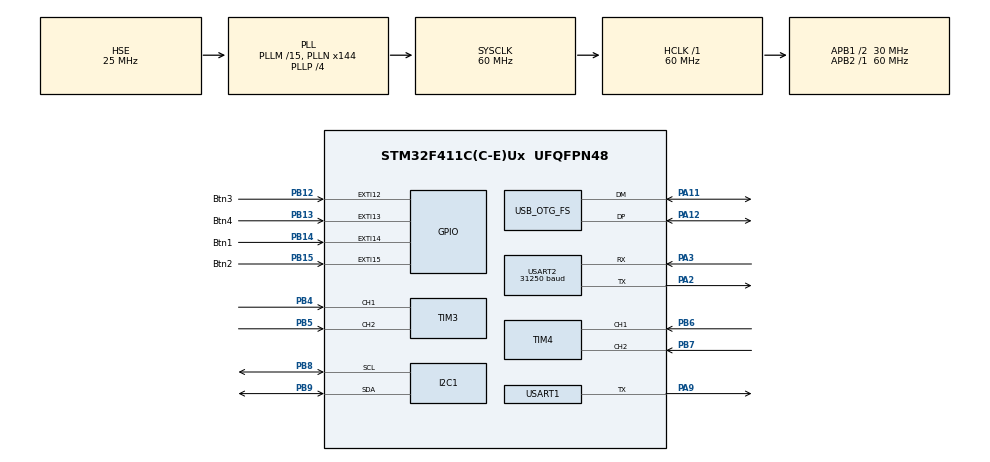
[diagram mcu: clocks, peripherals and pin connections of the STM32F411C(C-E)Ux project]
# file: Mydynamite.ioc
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FREERTOS.Tasks01=midi_core,48,128,MidiCore,Default,NULL,Dynamic,NULL,NULL;medium_tasks,32,128,MediumTasks,Default,NULL,Dynamic,NULL,NULL;display_update,16,128,DisplayUpdate,Default,NULL,Dynamic,NULL,NULL
FREERTOS.configUSE_NEWLIB_REENTRANT=1
Mcu.Family=STM32F4
Mcu.Name=STM32F411C(C-E)Ux
Mcu.Package=UFQFPN48
NVIC.OTG_FS_IRQn=true\:5\:0\:false\:false\:true\:true\:false\:true\:true
NVIC.PriorityGroup=NVIC_PRIORITYGROUP_4
NVIC.TIM1_UP_TIM10_IRQn=true\:15\:0\:false\:false\:true\:false\:false\:true\:true
NVIC.TIM2_IRQn=true\:5\:0\:false\:false\:true\:true\:true\:true\:true
NVIC.TIM3_IRQn=true\:5\:0\:false\:false\:true\:true\:true\:true\:true
NVIC.TIM4_IRQn=true\:5\:0\:false\:false\:true\:true\:true\:true\:true
NVIC.TimeBase=TIM1_UP_TIM10_IRQn
NVIC.TimeBaseIP=TIM1
NVIC.USART1_IRQn=true\:5\:0\:false\:false\:true\:true\:true\:true\:true
NVIC.USART2_IRQn=true\:5\:0\:false\:false\:true\:true\:true\:true\:true
PA11.Mode=Device_Only
PA11.Signal=USB_OTG_FS_DM
PA12.Mode=Device_Only
PA12.Signal=USB_OTG_FS_DP
PA13.Mode=Serial_Wire
PA13.Signal=SYS_JTMS-SWDIO
PA14.Mode=Serial_Wire
PA14.Signal=SYS_JTCK-SWCLK
PA2.GPIO_Speed=GPIO_SPEED_FREQ_HIGH
PA2.Mode=Asynchronous
PA2.Signal=USART2_TX
PA3.GPIO_Speed=GPIO_SPEED_FREQ_HIGH
PA3.Mode=Asynchronous
PA3.Signal=USART2_RX
PA9.Mode=Half_duplex(single_wire_mode)
PA9.Signal=USART1_TX
PB12.GPIO_Label=Btn3
PB12.GPIO_ModeDefaultEXTI=GPIO_MODE_EVT_FALLING
PB12.GPIO_PuPd=GPIO_PULLUP
PB12.Signal=GPXTI12
PB13.GPIO_Label=Btn4
PB13.GPIO_ModeDefaultEXTI=GPIO_MODE_EVT_FALLING
PB13.GPIO_PuPd=GPIO_PULLUP
PB13.Signal=GPXTI13
PB14.GPIO_Label=Btn1
PB14.GPIO_ModeDefaultEXTI=GPIO_MODE_EVT_FALLING
PB14.GPIO_PuPd=GPIO_PULLUP
PB14.Signal=GPXTI14
PB15.GPIO_Label=Btn2
PB15.GPIO_ModeDefaultEXTI=GPIO_MODE_EVT_FALLING
PB15.GPIO_PuPd=GPIO_PULLUP
PB15.Signal=GPXTI15
PB3.Signal=I2C2_SDA
PB4.GPIO_PuPd=GPIO_PULLUP
PB4.GPIO_Speed=GPIO_SPEED_FREQ_HIGH
PB4.Signal=S_TIM3_CH1
PB5.GPIO_PuPd=GPIO_PULLUP
PB5.GPIO_Speed=GPIO_SPEED_FREQ_HIGH
PB5.Signal=S_TIM3_CH2
PB6.GPIO_PuPd=GPIO_PULLUP
PB6.GPIO_Speed=GPIO_SPEED_FREQ_HIGH
PB6.Signal=S_TIM4_CH1
PB7.GPIO_PuPd=GPIO_PULLUP
PB7.GPIO_Speed=GPIO_SPEED_FREQ_HIGH
PB7.Signal=S_TIM4_CH2
PB8.Mode=I2C
PB8.Signal=I2C1_SCL
PB9.Mode=I2C
PB9.Signal=I2C1_SDA
PH0\ -\ OSC_IN.Mode=HSE-External-Oscillator
PH0\ -\ OSC_IN.Signal=RCC_OSC_IN
PH1\ -\ OSC_OUT.Mode=HSE-External-Oscillator
PH1\ -\ OSC_OUT.Signal=RCC_OSC_OUT
ProjectManager.HeapSize=0x200
ProjectManager.StackSize=0x400
ProjectManager.TargetToolchain=STM32CubeIDE
RCC.48MHZClocksFreq_Value=48000000
RCC.AHBFreq_Value=60000000
RCC.APB1CLKDivider=RCC_HCLK_DIV2
RCC.APB1Freq_Value=30000000
RCC.APB1TimFreq_Value=60000000
RCC.APB2Freq_Value=60000000
RCC.APB2TimFreq_Value=60000000
RCC.CortexFreq_Value=60000000
RCC.HCLKFreq_Value=60000000
RCC.HSE_VALUE=25000000
RCC.HSI_VALUE=16000000
RCC.LSE_VALUE=32768
RCC.PLLM=15
RCC.PLLN=144
RCC.PLLP=RCC_PLLP_DIV4
RCC.PLLQ=5
RCC.SYSCLKFreq_VALUE=60000000
RCC.SYSCLKSource=RCC_SYSCLKSOURCE_PLLCLK
RCC.VCOOutputFreq_Value=240000000
SH.S_TIM3_CH1.0=TIM3_CH1,Encoder_Interface
SH.S_TIM3_CH2.0=TIM3_CH2,Encoder_Interface
SH.S_TIM4_CH1.0=TIM4_CH1,Encoder_Interface
SH.S_TIM4_CH2.0=TIM4_CH2,Encoder_Interface
TIM2.Period=4160
TIM2.Prescaler=600-1
TIM3.ClockDivision=TIM_CLOCKDIVISION_DIV1
TIM3.CounterMode=TIM_COUNTERMODE_UP
TIM3.EncoderMode=TIM_ENCODERMODE_TI12
TIM3.IC1Filter=10
TIM3.IC1Polarity=TIM_ICPOLARITY_RISING
TIM3.IC2Filter=10
TIM3.IC2Polarity=TIM_ICPOLARITY_RISING
TIM4.ClockDivision=TIM_CLOCKDIVISION_DIV1
TIM4.CounterMode=TIM_COUNTERMODE_UP
TIM4.EncoderMode=TIM_ENCODERMODE_TI12
TIM4.IC1Filter=10
TIM4.IC1Polarity=TIM_ICPOLARITY_RISING
TIM4.IC2Filter=10
TIM4.IC2Polarity=TIM_ICPOLARITY_RISING
USART1.BaudRate=31250
USART1.Mode=MODE_TX
USART1.VirtualMode=VM_ASYNC
USART2.BaudRate=31250
USART2.Parity=PARITY_NONE
USART2.VirtualMode=VM_ASYNC
USB_DEVICE.CLASS_NAME_FS=HID
USB_DEVICE.VirtualMode=Hid
USB_DEVICE.VirtualModeFS=Hid_FS
USB_OTG_FS.VirtualMode=Device_Only
VP_FREERTOS_VS_CMSIS_V2.Mode=CMSIS_V2
VP_SYS_VS_tim1.Mode=TIM1
VP_TIM2_VS_ClockSourceINT.Mode=Internal
VP_USB_DEVICE_VS_USB_DEVICE_HID_FS.Mode=HID_FS
board=custom

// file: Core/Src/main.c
/* USER CODE BEGIN Header */
/* USER CODE END Header */
#include "main.h"
#include "cmsis_os.h"
#include "usb_device.h"

/* USER CODE BEGIN Includes */
#include <string.h>
#include <stdio.h>
#include <stdlib.h>
#include <stdbool.h>

/* USER CODE END Includes */

/* USER CODE BEGIN PD */
#include "screen_driver.h"
#include "screen_driver_fonts.h"

#include "menu.h"
#include "midi_tempo.h"
#include "midi_modify.h"
#include "saving.h"
#include "settings.h"
#include "utils.h"

/* USER CODE END PD */

I2C_HandleTypeDef hi2c1;

TIM_HandleTypeDef htim2;
TIM_HandleTypeDef htim3;
TIM_HandleTypeDef htim4;

UART_HandleTypeDef huart1;
UART_HandleTypeDef huart2;

/* Definitions for midi_core */
osThreadId_t midi_coreHandle;
const osThreadAttr_t midi_core_attributes = {
  .name = "midi_core",
  .stack_size = 128 * 4,
  .priority = (osPriority_t) osPriorityRealtime,
};
/* Definitions for medium_tasks */
osThreadId_t medium_tasksHandle;
const osThreadAttr_t medium_tasks_attributes = {
  .name = "medium_tasks",
  .stack_size = 128 * 4,
  .priority = (osPriority_t) osPriorityAboveNormal,
};
/* Definitions for display_update */
osThreadId_t display_updateHandle;
const osThreadAttr_t display_update_attributes = {
  .name = "display_update",
  .stack_size = 128 * 4,
  .priority = (osPriority_t) osPriorityBelowNormal,
};
/* USER CODE BEGIN PV */
//Romagnetics code
//structs containing the informaiton for each mode
midi_tempo_data_struct midi_tempo_data;
midi_modify_data_struct midi_modify_data;
midi_transpose_data_struct midi_transpose_data;
settings_data_struct settings_data;

static ui_state_t ui_state = {0};

//midi receive
midi_modify_circular_buffer midi_modify_buff = {0};
uint8_t midi_uart_rx_byte;

/* USER CODE END PV */

void SystemClock_Config(void);
static void MX_GPIO_Init(void);
static void MX_TIM3_Init(void);
static void MX_TIM4_Init(void);
static void MX_USART2_UART_Init(void);
static void MX_TIM2_Init(void);
static void MX_USART1_UART_Init(void);
static void MX_I2C1_Init(void);
void MidiCore(void *argument);
void MediumTasks(void *argument);
void DisplayUpdate(void *argument);

int main(void)
{

  /* MCU Configuration--------------------------------------------------------*/

  /* Reset of all peripherals, Initializes the Flash interface and the Systick. */
  HAL_Init();

  /* Configure the system clock */
  SystemClock_Config();

  /* Initialize all configured peripherals */
  MX_GPIO_Init();
  MX_TIM3_Init();
  MX_TIM4_Init();
  MX_USART2_UART_Init();
  MX_TIM2_Init();
  MX_USART1_UART_Init();
  MX_I2C1_Init();
  /* USER CODE BEGIN 2 */
  //Romagnetics code
  screen_driver_Init();

  load_settings();
  ui_state.current_menu = settings_data.start_menu;
  screen_driver_SetContrast(settings_data.brightness);

  if(midi_tempo_data.currently_sending == 1){
	  mt_start_stop(&htim2, &midi_tempo_data);
  }

  HAL_TIM_Encoder_Start(&htim3, TIM_CHANNEL_ALL);
  HAL_TIM_Encoder_Start(&htim4, TIM_CHANNEL_ALL);

  //Setting up both encoders
  __HAL_TIM_SET_COUNTER(&htim3, ENCODER_CENTER);
  __HAL_TIM_SET_COUNTER(&htim4, ENCODER_CENTER);

  HAL_UART_Receive_IT(&huart2, &midi_uart_rx_byte, 1);

  /* USER CODE END 2 */

  /* Init scheduler */
  osKernelInitialize();

  /* Create the thread(s) */
  /* creation of midi_core */
  midi_coreHandle = osThreadNew(MidiCore, NULL, &midi_core_attributes);

  /* creation of medium_tasks */
  medium_tasksHandle = osThreadNew(MediumTasks, NULL, &medium_tasks_attributes);

  /* creation of display_update */
  display_updateHandle = osThreadNew(DisplayUpdate, NULL, &display_update_attributes);

  /* Start scheduler */
  osKernelStart();

  /* We should never get here as control is now taken by the scheduler */

  /* Infinite loop */

}

void SystemClock_Config(void)
{
  RCC_OscInitTypeDef RCC_OscInitStruct = {0};
  RCC_ClkInitTypeDef RCC_ClkInitStruct = {0};

  /** Configure the main internal regulator output voltage
  */
  __HAL_RCC_PWR_CLK_ENABLE();
  __HAL_PWR_VOLTAGESCALING_CONFIG(PWR_REGULATOR_VOLTAGE_SCALE1);

  /** Initializes the RCC Oscillators according to the specified parameters
  * in the RCC_OscInitTypeDef structure.
  */
  RCC_OscInitStruct.OscillatorType = RCC_OSCILLATORTYPE_HSE;
  RCC_OscInitStruct.HSEState = RCC_HSE_ON;
  RCC_OscInitStruct.PLL.PLLState = RCC_PLL_ON;
  RCC_OscInitStruct.PLL.PLLSource = RCC_PLLSOURCE_HSE;
  RCC_OscInitStruct.PLL.PLLM = 15;
  RCC_OscInitStruct.PLL.PLLN = 144;
  RCC_OscInitStruct.PLL.PLLP = RCC_PLLP_DIV4;
  RCC_OscInitStruct.PLL.PLLQ = 5;
  if (HAL_RCC_OscConfig(&RCC_OscInitStruct) != HAL_OK)
  {
    Error_Handler();
  }

  /** Initializes the CPU, AHB and APB buses clocks
  */
  RCC_ClkInitStruct.ClockType = RCC_CLOCKTYPE_HCLK|RCC_CLOCKTYPE_SYSCLK
                              |RCC_CLOCKTYPE_PCLK1|RCC_CLOCKTYPE_PCLK2;
  RCC_ClkInitStruct.SYSCLKSource = RCC_SYSCLKSOURCE_PLLCLK;
  RCC_ClkInitStruct.AHBCLKDivider = RCC_SYSCLK_DIV1;
  RCC_ClkInitStruct.APB1CLKDivider = RCC_HCLK_DIV2;
  RCC_ClkInitStruct.APB2CLKDivider = RCC_HCLK_DIV1;

  if (HAL_RCC_ClockConfig(&RCC_ClkInitStruct, FLASH_LATENCY_1) != HAL_OK)
  {
    Error_Handler();
  }
}

static void MX_I2C1_Init(void)
{

  hi2c1.Instance = I2C1;
  hi2c1.Init.ClockSpeed = 100000;
  hi2c1.Init.DutyCycle = I2C_DUTYCYCLE_2;
  hi2c1.Init.OwnAddress1 = 0;
  hi2c1.Init.AddressingMode = I2C_ADDRESSINGMODE_7BIT;
  hi2c1.Init.DualAddressMode = I2C_DUALADDRESS_DISABLE;
  hi2c1.Init.OwnAddress2 = 0;
  hi2c1.Init.GeneralCallMode = I2C_GENERALCALL_DISABLE;
  hi2c1.Init.NoStretchMode = I2C_NOSTRETCH_DISABLE;
  if (HAL_I2C_Init(&hi2c1) != HAL_OK)
  {
    Error_Handler();
  }

}

static void MX_TIM2_Init(void)
{

  TIM_ClockConfigTypeDef sClockSourceConfig = {0};
  TIM_MasterConfigTypeDef sMasterConfig = {0};

  htim2.Instance = TIM2;
  htim2.Init.Prescaler = 600-1;
  htim2.Init.CounterMode = TIM_COUNTERMODE_UP;
  htim2.Init.Period = 4160;
  htim2.Init.ClockDivision = TIM_CLOCKDIVISION_DIV1;
  htim2.Init.AutoReloadPreload = TIM_AUTORELOAD_PRELOAD_DISABLE;
  if (HAL_TIM_Base_Init(&htim2) != HAL_OK)
  {
    Error_Handler();
  }
  sClockSourceConfig.ClockSource = TIM_CLOCKSOURCE_INTERNAL;
  if (HAL_TIM_ConfigClockSource(&htim2, &sClockSourceConfig) != HAL_OK)
  {
    Error_Handler();
  }
  sMasterConfig.MasterOutputTrigger = TIM_TRGO_RESET;
  sMasterConfig.MasterSlaveMode = TIM_MASTERSLAVEMODE_DISABLE;
  if (HAL_TIMEx_MasterConfigSynchronization(&htim2, &sMasterConfig) != HAL_OK)
  {
    Error_Handler();
  }

}

static void MX_TIM3_Init(void)
{

  TIM_Encoder_InitTypeDef sConfig = {0};
  TIM_MasterConfigTypeDef sMasterConfig = {0};

  htim3.Instance = TIM3;
  htim3.Init.Prescaler = 0;
  htim3.Init.CounterMode = TIM_COUNTERMODE_UP;
  htim3.Init.Period = 65535;
  htim3.Init.ClockDivision = TIM_CLOCKDIVISION_DIV1;
  htim3.Init.AutoReloadPreload = TIM_AUTORELOAD_PRELOAD_DISABLE;
  sConfig.EncoderMode = TIM_ENCODERMODE_TI12;
  sConfig.IC1Polarity = TIM_ICPOLARITY_RISING;
  sConfig.IC1Selection = TIM_ICSELECTION_DIRECTTI;
  sConfig.IC1Prescaler = TIM_ICPSC_DIV1;
  sConfig.IC1Filter = 10;
  sConfig.IC2Polarity = TIM_ICPOLARITY_RISING;
  sConfig.IC2Selection = TIM_ICSELECTION_DIRECTTI;
  sConfig.IC2Prescaler = TIM_ICPSC_DIV1;
  sConfig.IC2Filter = 10;
  if (HAL_TIM_Encoder_Init(&htim3, &sConfig) != HAL_OK)
  {
    Error_Handler();
  }
  sMasterConfig.MasterOutputTrigger = TIM_TRGO_RESET;
  sMasterConfig.MasterSlaveMode = TIM_MASTERSLAVEMODE_DISABLE;
  if (HAL_TIMEx_MasterConfigSynchronization(&htim3, &sMasterConfig) != HAL_OK)
  {
    Error_Handler();
  }

}

static void MX_TIM4_Init(void)
{

  TIM_Encoder_InitTypeDef sConfig = {0};
  TIM_MasterConfigTypeDef sMasterConfig = {0};

  htim4.Instance = TIM4;
  htim4.Init.Prescaler = 0;
  htim4.Init.CounterMode = TIM_COUNTERMODE_UP;
  htim4.Init.Period = 65535;
  htim4.Init.ClockDivision = TIM_CLOCKDIVISION_DIV1;
  htim4.Init.AutoReloadPreload = TIM_AUTORELOAD_PRELOAD_DISABLE;
  sConfig.EncoderMode = TIM_ENCODERMODE_TI12;
  sConfig.IC1Polarity = TIM_ICPOLARITY_RISING;
  sConfig.IC1Selection = TIM_ICSELECTION_DIRECTTI;
  sConfig.IC1Prescaler = TIM_ICPSC_DIV1;
  sConfig.IC1Filter = 10;
  sConfig.IC2Polarity = TIM_ICPOLARITY_RISING;
  sConfig.IC2Selection = TIM_ICSELECTION_DIRECTTI;
  sConfig.IC2Prescaler = TIM_ICPSC_DIV1;
  sConfig.IC2Filter = 10;
  if (HAL_TIM_Encoder_Init(&htim4, &sConfig) != HAL_OK)
  {
    Error_Handler();
  }
  sMasterConfig.MasterOutputTrigger = TIM_TRGO_RESET;
  sMasterConfig.MasterSlaveMode = TIM_MASTERSLAVEMODE_DISABLE;
  if (HAL_TIMEx_MasterConfigSynchronization(&htim4, &sMasterConfig) != HAL_OK)
  {
    Error_Handler();
  }

}

static void MX_USART1_UART_Init(void)
{

  huart1.Instance = USART1;
  huart1.Init.BaudRate = 31250;
  huart1.Init.WordLength = UART_WORDLENGTH_8B;
  huart1.Init.StopBits = UART_STOPBITS_1;
  huart1.Init.Parity = UART_PARITY_NONE;
  huart1.Init.Mode = UART_MODE_TX;
  huart1.Init.HwFlowCtl = UART_HWCONTROL_NONE;
  huart1.Init.OverSampling = UART_OVERSAMPLING_16;
  if (HAL_HalfDuplex_Init(&huart1) != HAL_OK)
  {
    Error_Handler();
  }

}

static void MX_USART2_UART_Init(void)
{

  huart2.Instance = USART2;
  huart2.Init.BaudRate = 31250;
  huart2.Init.WordLength = UART_WORDLENGTH_8B;
  huart2.Init.StopBits = UART_STOPBITS_1;
  huart2.Init.Parity = UART_PARITY_NONE;
  huart2.Init.Mode = UART_MODE_TX_RX;
  huart2.Init.HwFlowCtl = UART_HWCONTROL_NONE;
  huart2.Init.OverSampling = UART_OVERSAMPLING_16;
  if (HAL_UART_Init(&huart2) != HAL_OK)
  {
    Error_Handler();
  }

}

static void MX_GPIO_Init(void)
{
  GPIO_InitTypeDef GPIO_InitStruct = {0};

  /* GPIO Ports Clock Enable */
  __HAL_RCC_GPIOH_CLK_ENABLE();
  __HAL_RCC_GPIOA_CLK_ENABLE();
  __HAL_RCC_GPIOB_CLK_ENABLE();

  /*Configure GPIO pins : Btn3_Pin Btn4_Pin Btn1_Pin Btn2_Pin */
  GPIO_InitStruct.Pin = Btn3_Pin|Btn4_Pin|Btn1_Pin|Btn2_Pin;
  GPIO_InitStruct.Mode = GPIO_MODE_EVT_FALLING;
  GPIO_InitStruct.Pull = GPIO_PULLUP;
  HAL_GPIO_Init(GPIOB, &GPIO_InitStruct);

  /*Configure GPIO pin : PB3 */
  GPIO_InitStruct.Pin = GPIO_PIN_3;
  GPIO_InitStruct.Mode = GPIO_MODE_AF_OD;
  GPIO_InitStruct.Pull = GPIO_NOPULL;
  GPIO_InitStruct.Speed = GPIO_SPEED_FREQ_VERY_HIGH;
  GPIO_InitStruct.Alternate = GPIO_AF9_I2C2;
  HAL_GPIO_Init(GPIOB, &GPIO_InitStruct);

}

/* USER CODE BEGIN 4 */
//Romagnetics code

void HAL_UART_RxCpltCallback(UART_HandleTypeDef *huart){

  	if(huart->Instance == USART2){
  		midi_buffer_push(midi_uart_rx_byte);
  		HAL_UART_Receive_IT(&huart2, &midi_uart_rx_byte, 1);
  	}

}

/* USER CODE END 4 */

void MidiCore(void *argument)
{
  /* init code for USB_DEVICE */
  MX_USB_DEVICE_Init();
  /* USER CODE BEGIN 5 */

  /* Infinite loop */
  for(;;)
  {
  //Reading the incoming midi and giving it back
  calculate_incoming_midi();

  osDelay(5);
  }
  /* USER CODE END 5 */
}

void MediumTasks(void *argument)
{
  /* USER CODE BEGIN MediumTasks */
  /* Infinite loop */
  for(;;)
  {

	 //Romagnetics code
	static uint8_t old_menu = 99;
	menu_change_check(&ui_state.current_menu);

	switch(ui_state.current_menu) {
		case MIDI_TEMPO:
			midi_tempo_update_menu(&htim3, &htim4, &midi_tempo_data, &old_menu, &ui_state.midi_tempo_current_select, display_updateHandle);
			break;

		case MIDI_MODIFY:
			midi_modify_update_menu(&htim3, &htim4, &midi_modify_data, &old_menu, &ui_state.midi_modify_current_select, display_updateHandle);
			break;

		case MIDI_TRANSPOSE:
			midi_transpose_update_menu(&htim3, &htim4, &midi_transpose_data, &old_menu, &ui_state.midi_transpose_current_select, display_updateHandle);
			break;

		case SETTINGS:
			settings_update_menu(&htim3, &htim4, &old_menu, &ui_state.settings_current_select, display_updateHandle);
			break;

		default:
			// Optional: handle unknown menu case
			break;
	}

	old_menu = ui_state.current_menu;

	static uint8_t OldBtn3State = 1;
	if(debounce_button(GPIOB, Btn3_Pin, &OldBtn3State, 50)){
		 switch (ui_state.current_menu) {
		 	case MIDI_TEMPO:
		 		midi_tempo_data.currently_sending = (midi_tempo_data.currently_sending == 0) ? 1 : 0;
		 		mt_start_stop(&htim2, &midi_tempo_data);
		 		osThreadFlagsSet(display_updateHandle, FLAG_TEMPO);
		 		break;

		 	case MIDI_MODIFY:
		 		midi_modify_data.currently_sending = (midi_modify_data.currently_sending == 0) ? 1 : 0;
		 		osThreadFlagsSet(display_updateHandle, FLAG_MODIFY);
		 		break;

		 	case MIDI_TRANSPOSE:
		 		midi_transpose_data.currently_sending = (midi_transpose_data.currently_sending == 0) ? 1 : 0;
		 		osThreadFlagsSet(display_updateHandle, FLAG_TRANSPOSE);
		 		break;

		 	default:
		 		break;
		 }
	}

	// Check for panic button (both buttons held down)
	panic_midi(&huart1, &huart2, GPIOB, Btn1_Pin, Btn2_Pin);

	//Let other tasks update
	osDelay(10);

  }
  /* USER CODE END MediumTasks */
}

void DisplayUpdate(void *argument)
{
  /* USER CODE BEGIN DisplayUpdate */
  /* Infinite loop */
  for(;;)
  {
	  uint32_t displayFlags = osThreadFlagsWait(0x0F, osFlagsWaitAny, osWaitForever);

	  switch (ui_state.current_menu) {
	  	case MIDI_TEMPO:
	  		if (displayFlags & FLAG_TEMPO) {
	  			screen_update_midi_tempo(&midi_tempo_data, &ui_state.midi_tempo_current_select);
	  		}
	  		break;

	  	case MIDI_MODIFY:
	  		if (displayFlags & FLAG_MODIFY) {
	  			screen_update_midi_modify(&midi_modify_data, &ui_state.midi_modify_current_select);
	  		}
	  		break;

	  	case MIDI_TRANSPOSE:
	  		if (displayFlags & FLAG_TRANSPOSE) {
	  			screen_update_midi_transpose(&midi_transpose_data, &ui_state.midi_transpose_current_select);
	  		}
	  		break;

	  	case SETTINGS:
	  		if (displayFlags & FLAG_SETTINGS) {
	  			screen_update_settings(&ui_state.settings_current_select);
	  		}
	  		break;

	  	default:
	  		break;
	  }
     osDelay(30);
  }
  /* USER CODE END DisplayUpdate */
}

void HAL_TIM_PeriodElapsedCallback(TIM_HandleTypeDef *htim)
{
  if (htim->Instance == TIM1)
  {
    HAL_IncTick();
  }
  /* USER CODE BEGIN Callback 1 */
  //Romagnetics code

  if (htim->Instance == TIM2) {
	  send_midi_tempo_out(midi_tempo_data.tempo_click_rate, midi_tempo_data.send_to_midi_out);
  }

  /* USER CODE END Callback 1 */
}

void Error_Handler(void)
{
  __disable_irq();
  while (1)
  {
  }
}
